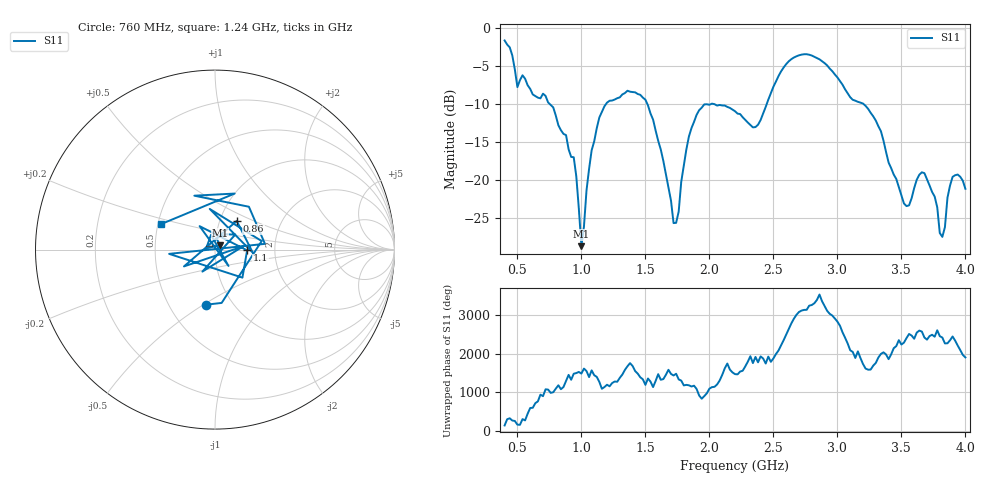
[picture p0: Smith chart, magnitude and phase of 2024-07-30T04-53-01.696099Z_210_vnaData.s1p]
!Created with skrf (http://scikit-rf.org).
# Hz S RI R 50.0
!freq ReS11 ImS11
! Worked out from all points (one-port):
!   181 points, 400 MHz to 4 GHz, reference 50 ohm
!   lowest |S11| = -28.7 dB at 1 GHz (marker M1), VSWR 1.08, Z = 52.8 + j2.49 ohm
!   |S11| at or under -10 dB: 750.6 MHz to 1.194 GHz (443.1 MHz wide, 45.6 % of centre); 1.515 GHz to 2.017 GHz (502.8 MHz wide, 28.5 % of centre); 3.202 GHz to end of sweep (the widest 3 of 4)
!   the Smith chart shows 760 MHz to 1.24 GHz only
!   S11 on the Smith chart (normalised r, x): 760 MHz: 0.76, -0.51; 860 MHz: 1.20, +0.40; 1.1 GHz: 1.44, -0.01; 1.24 GHz: 0.52, +0.17
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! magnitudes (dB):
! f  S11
! 400 MHz  -1.7
! 500 MHz  -7.8
! 540 MHz  -6.3
! 760 MHz  -10.2
! 860 MHz  -14.0
! 940 MHz  -17.0
! 1 GHz  -28.7
! 1.06 GHz  -18.6
! 1.1 GHz  -14.9
! 1.24 GHz  -9.6
! 1.3 GHz  -9.2
! 1.5 GHz  -9.5
! 1.62 GHz  -16.0
! 1.72 GHz  -25.7
! 1.76 GHz  -24.2
! 1.84 GHz  -14.3
! 1.92 GHz  -10.8
! 2.2 GHz  -11.0
! 2.36 GHz  -13.1
! 2.66 GHz  -3.9
! 2.86 GHz  -4.2
! 3.1 GHz  -9.1
! 3.3 GHz  -12.2
! 3.56 GHz  -23.4
! 3.68 GHz  -19.1
! 3.82 GHz  -27.5
! 3.9 GHz  -19.6
! 4 GHz  -21.2
